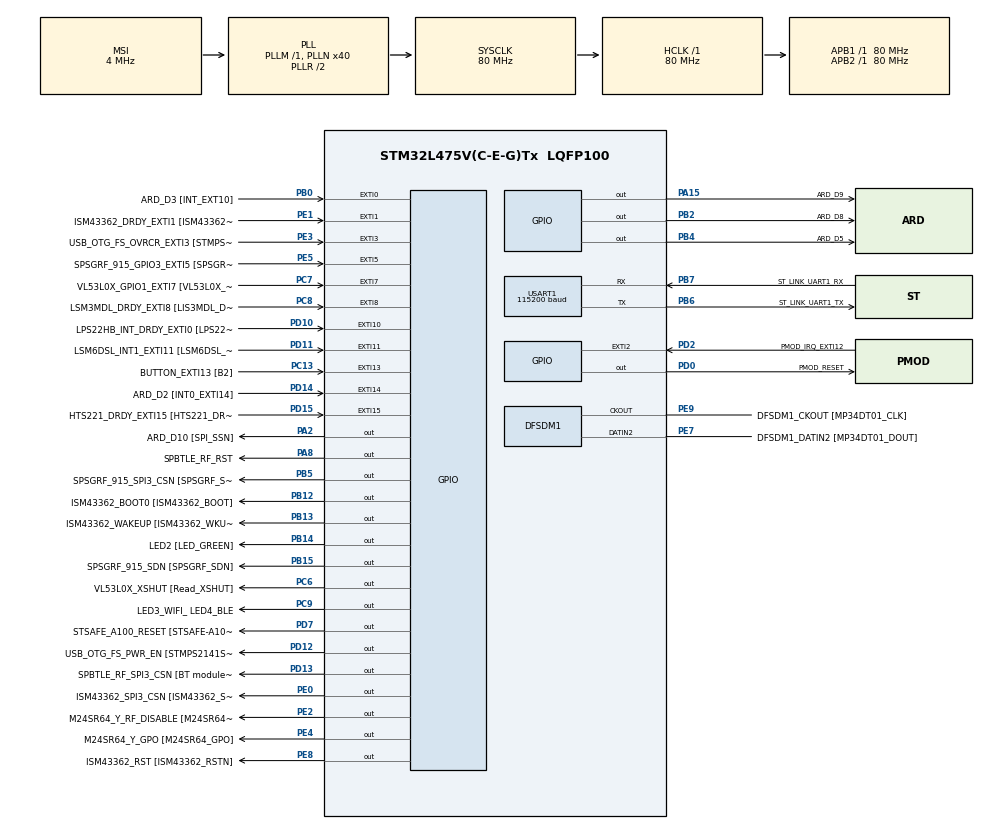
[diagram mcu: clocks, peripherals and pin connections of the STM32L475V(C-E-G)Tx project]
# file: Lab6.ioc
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ADC1.Channel-0\#ChannelRegularConversion=ADC_CHANNEL_TEMPSENSOR
ADC1.ContinuousConvMode=DISABLE
ADC1.DMAContinuousRequests=ENABLE
ADC1.EOCSelection=ADC_EOC_SINGLE_CONV
ADC1.ExternalTrigConv=ADC_EXTERNALTRIG_T1_TRGO
ADC1.ExternalTrigConvEdge=ADC_EXTERNALTRIGCONVEDGE_RISING
ADC1.NbrOfConversionFlag=1
ADC1.OffsetNumber-0\#ChannelRegularConversion=ADC_OFFSET_NONE
ADC1.Rank-0\#ChannelRegularConversion=1
ADC1.SamplingTime-0\#ChannelRegularConversion=ADC_SAMPLETIME_640CYCLES_5
ADC1.master=1
DFSDM1.Divider=40
DFSDM1.DmaMode_reg_FIL0=ENABLE
DFSDM1.FastMode_reg_FIL0=DISABLE
DFSDM1.Filter_injChannel2_FIL0=DFSDM_CHANNEL_2
DFSDM1.Filter_regChannel_FIL0=DFSDM_CHANNEL_2
DFSDM1.Fosr_FIL0=250
DFSDM1.Selection=DFSDM_CHANNEL_OUTPUT_CLOCK_AUDIO
DFSDM1.SincOrder_FIL0=DFSDM_FILTER_SINC3_ORDER
Dma.ADC1.0.Direction=DMA_PERIPH_TO_MEMORY
Dma.ADC1.0.Instance=DMA1_Channel1
Dma.ADC1.0.MemDataAlignment=DMA_MDATAALIGN_HALFWORD
Dma.ADC1.0.MemInc=DMA_MINC_ENABLE
Dma.ADC1.0.Mode=DMA_CIRCULAR
Dma.ADC1.0.PeriphDataAlignment=DMA_PDATAALIGN_HALFWORD
Dma.ADC1.0.PeriphInc=DMA_PINC_DISABLE
Dma.ADC1.0.Priority=DMA_PRIORITY_HIGH
Dma.DFSDM1_FLT0.1.Direction=DMA_PERIPH_TO_MEMORY
Dma.DFSDM1_FLT0.1.Instance=DMA1_Channel4
Dma.DFSDM1_FLT0.1.MemDataAlignment=DMA_MDATAALIGN_WORD
Dma.DFSDM1_FLT0.1.MemInc=DMA_MINC_ENABLE
Dma.DFSDM1_FLT0.1.Mode=DMA_CIRCULAR
Dma.DFSDM1_FLT0.1.PeriphDataAlignment=DMA_PDATAALIGN_WORD
Dma.DFSDM1_FLT0.1.PeriphInc=DMA_PINC_DISABLE
Dma.DFSDM1_FLT0.1.Priority=DMA_PRIORITY_LOW
Dma.Request0=ADC1
Dma.Request1=DFSDM1_FLT0
FREERTOS.BinarySemaphores01=adcSem,Dynamic,NULL
FREERTOS.Tasks01=defaultTask,24,512,StartDefaultTask,Default,NULL,Dynamic,NULL,NULL
Mcu.Family=STM32L4
Mcu.Name=STM32L475V(C-E-G)Tx
Mcu.Package=LQFP100
NVIC.ADC1_2_IRQn=true\:5\:0\:false\:false\:true\:true\:true\:true\:true
NVIC.DFSDM1_FLT0_IRQn=true\:5\:0\:false\:false\:true\:true\:true\:true\:true
NVIC.DMA1_Channel1_IRQn=true\:5\:0\:false\:false\:true\:true\:false\:true\:true
NVIC.DMA1_Channel4_IRQn=true\:5\:0\:false\:false\:true\:true\:false\:true\:true
NVIC.EXTI15_10_IRQn=true\:5\:0\:false\:false\:true\:true\:true\:true\:true
NVIC.EXTI9_5_IRQn=true\:5\:0\:false\:false\:true\:true\:true\:true\:true
NVIC.PriorityGroup=NVIC_PRIORITYGROUP_4
NVIC.TIM6_DAC_IRQn=true\:5\:0\:false\:false\:true\:false\:false\:true\:true
NVIC.TIM7_IRQn=true\:15\:0\:false\:false\:true\:false\:false\:true\:true
NVIC.TimeBase=TIM7_IRQn
NVIC.TimeBaseIP=TIM7
NVIC.USART1_IRQn=true\:5\:0\:false\:false\:true\:true\:true\:true\:true
PA0.GPIO_Label=ARD_D1 [UART4_TX]
PA0.Signal=UART4_TX
PA1.GPIO_Label=ARD_D0 [UART4_RX]
PA1.Signal=UART4_RX
PA10.GPIO_Label=USB_OTG_FS_ID
PA10.Signal=USB_OTG_FS_ID
PA11.GPIO_Label=USB_OTG_FS_DM
PA11.Signal=USB_OTG_FS_DM
PA12.GPIO_Label=USB_OTG_FS_DP
PA12.Signal=USB_OTG_FS_DP
PA13\ (JTMS-SWDIO).GPIO_Label=SYS_JTMS_SWDIO
PA13\ (JTMS-SWDIO).Mode=Serial_Wire
PA13\ (JTMS-SWDIO).Signal=SYS_JTMS-SWDIO
PA14\ (JTCK-SWCLK).GPIO_Label=SYS_JTCK_SWCLK
PA14\ (JTCK-SWCLK).Mode=Serial_Wire
PA14\ (JTCK-SWCLK).Signal=SYS_JTCK-SWCLK
PA15\ (JTDI).GPIO_Label=ARD_D9
PA15\ (JTDI).Signal=GPIO_Output
PA2.GPIO_Label=ARD_D10 [SPI_SSN]
PA2.Signal=GPIO_Output
PA3.GPIO_Label=ARD_D4
PA3.Signal=S_TIM2_CH4
PA4.GPIO_Label=ARD_D7
PA4.Signal=ADCx_IN9
PA5.GPIO_Label=ARD_D13 [SPI1_SCK]
PA5.Signal=SPI1_SCK
PA6.GPIO_Label=ARD_D12 [SPI1_MISO]
PA6.Signal=SPI1_MISO
PA7.GPIO_Label=ARD_D11 [SPI1_MOSI]
PA7.Signal=SPI1_MOSI
PA8.GPIO_Label=SPBTLE_RF_RST
PA8.Signal=GPIO_Output
PA9.GPIO_Label=USB_OTG_FS_VBUS [STMPS2141STR_OUT]
PA9.Signal=USB_OTG_FS_VBUS
PB0.GPIO_Label=ARD_D3 [INT_EXT10]
PB0.Signal=GPXTI0
PB1.GPIO_Label=ARD_D6 [ADC1_IN6]
PB1.Signal=ADCx_IN16
PB10.GPIO_Label=INTERNAL_I2C2_SCL [VL53L0X_SCL]
PB10.Signal=I2C2_SCL
PB11.GPIO_Label=INTERNAL_I2C2_SDA [VL53L0X_SDA]
PB11.Signal=I2C2_SDA
PB12.GPIO_Label=ISM43362_BOOT0 [ISM43362_BOOT]
PB12.Signal=GPIO_Output
PB13.GPIO_Label=ISM43362_WAKEUP [ISM43362_WKUP]
PB13.Signal=GPIO_Output
PB14.GPIO_Label=LED2 [LED_GREEN]
PB14.Signal=GPIO_Output
PB15.GPIO_Label=SPSGRF_915_SDN [SPSGRF_SDN]
PB15.Signal=GPIO_Output
PB2.GPIO_Label=ARD_D8
PB2.Signal=GPIO_Output
PB3\ (JTDO-TRACESWO).GPIO_Label=SYS_JTD0_SWO
PB3\ (JTDO-TRACESWO).Signal=SYS_JTDO-SWO
PB4\ (NJTRST).GPIO_Label=ARD_D5
PB4\ (NJTRST).Signal=GPIO_Output
PB5.GPIO_Label=SPSGRF_915_SPI3_CSN [SPSGRF_SPI_CS]
PB5.PinState=GPIO_PIN_SET
PB5.Signal=GPIO_Output
PB6.GPIO_Label=ST_LINK_UART1_TX
PB6.Mode=Asynchronous
PB6.Signal=USART1_TX
PB7.GPIO_Label=ST_LINK_UART1_RX
PB7.Mode=Asynchronous
PB7.Signal=USART1_RX
PB8.GPIO_Label=ARD_D15 [I2C1_SCL]
PB8.Signal=I2C1_SCL
PB9.GPIO_Label=ARD_D14 [I2C1_SDA]
PB9.Signal=I2C1_SDA
PC0.GPIO_Label=ARD_A5 [ADC]
PC0.Signal=ADCx_IN1
PC1.GPIO_Label=ARD_A4 [ADC]
PC1.Signal=ADCx_IN2
PC10.GPIO_Label=INTERNAL_SPI3_SCK [BT module_SPI_SCLK] [ISM43362_SCK]
PC10.Signal=SPI3_SCK
PC11.GPIO_Label=INTERNAL_SPI3_MISO [BT module_SPI_MISO] [ISM43362_MISO]
PC11.Signal=SPI3_MISO
PC12.GPIO_Label=INTERNAL_SPI3_MOSI [BT module_SPI_MOSI] [ISM43362_MOSI]
PC12.Signal=SPI3_MOSI
PC13.GPIO_Label=BUTTON_EXTI13 [B2]
PC13.GPIO_ModeDefaultEXTI=GPIO_MODE_IT_FALLING
PC13.Signal=GPXTI13
PC14-OSC32_IN\ (PC14).Mode=LSE-External-Oscillator
PC14-OSC32_IN\ (PC14).Signal=RCC_OSC32_IN
PC15-OSC32_OUT\ (PC15).Mode=LSE-External-Oscillator
PC15-OSC32_OUT\ (PC15).Signal=RCC_OSC32_OUT
PC3.GPIO_Label=ARD_A2 [ADC]
PC3.Signal=ADCx_IN4
PC4.GPIO_Label=ARD_A1 [ADC]
PC4.Signal=ADCx_IN13
PC5.GPIO_Label=ARD_A0 [ADC]
PC5.Signal=ADCx_IN14
PC6.GPIO_Label=VL53L0X_XSHUT [Read_XSHUT]
PC6.Signal=GPIO_Output
PC7.GPIO_Label=VL53L0X_GPIO1_EXTI7 [VL53L0X_GPIO1]
PC7.Signal=GPXTI7
PC8.GPIO_Label=LSM3MDL_DRDY_EXTI8 [LIS3MDL_DRDY]
PC8.Signal=GPXTI8
PC9.GPIO_Label=LED3_WIFI_ LED4_BLE
PC9.Signal=GPIO_Output
PD0.GPIO_Label=PMOD_RESET
PD0.Signal=GPIO_Output
PD1.GPIO_Label=PMOD_SPI2_SCK
PD1.Signal=SPI2_SCK
PD10.GPIO_Label=LPS22HB_INT_DRDY_EXTI0 [LPS22HB_INT_DRDY]
PD10.Signal=GPXTI10
PD11.GPIO_Label=LSM6DSL_INT1_EXTI11 [LSM6DSL_INT1]
PD11.Signal=GPXTI11
PD12.GPIO_Label=USB_OTG_FS_PWR_EN [STMPS2141STR_EN]
PD12.Signal=GPIO_Output
PD13.GPIO_Label=SPBTLE_RF_SPI3_CSN [BT module_SPI_CS]
PD13.PinState=GPIO_PIN_SET
PD13.Signal=GPIO_Output
PD14.GPIO_Label=ARD_D2 [INT0_EXTI14]
PD14.Signal=GPXTI14
PD15.GPIO_Label=HTS221_DRDY_EXTI15 [HTS221_DRDY]
PD15.Signal=GPXTI15
PD2.GPIO_Label=PMOD_IRQ_EXTI12
PD2.Signal=GPXTI2
PD3.GPIO_Label=PMOD_UART2_CTS
PD3.Signal=USART2_CTS
PD4.GPIO_Label=PMOD_UART2_RTS
PD4.Signal=USART2_RTS
PD5.GPIO_Label=PMOD_UART2_TX
PD5.Signal=USART2_TX
PD6.GPIO_Label=PMOD_UART2_RX
PD6.Signal=USART2_RX
PD7.GPIO_Label=STSAFE_A100_RESET [STSAFE-A100_RESET]
PD7.Signal=GPIO_Output
PD8.GPIO_Label=INTERNAL_UART3_TX [ISM43362_RX]
PD8.Signal=USART3_TX
PD9.GPIO_Label=INTERNAL_UART3_RX [ISM43362_TX]
PD9.Signal=USART3_RX
PE0.GPIO_Label=ISM43362_SPI3_CSN [ISM43362_SSN]
PE0.PinState=GPIO_PIN_SET
PE0.Signal=GPIO_Output
PE1.GPIO_Label=ISM43362_DRDY_EXTI1 [ISM43362_DATARDY]
PE1.Signal=GPXTI1
PE10.GPIO_Label=QUADSPI_CLK [MX25R6435F_SCLK]
PE10.Signal=QUADSPI_CLK
PE11.GPIO_Label=QUADSPI_NCS [MX25R6435F_SCLK]
PE11.Signal=QUADSPI_NCS
PE12.GPIO_Label=OQUADSPI_BK1_IO0 [MX25R6435F_IO0]
PE12.Signal=QUADSPI_BK1_IO0
PE13.GPIO_Label=QUADSPI_BK1_IO1 [MX25R6435F_IO1]
PE13.Signal=QUADSPI_BK1_IO1
PE14.GPIO_Label=QUAD_SPI_BK1_IO2 [MX25R6435F_IO2]
PE14.Signal=QUADSPI_BK1_IO2
PE15.GPIO_Label=QUAD_SPI_BK1_IO3 [MX25R6435F_IO3]
PE15.Signal=QUADSPI_BK1_IO3
PE2.GPIO_Label=M24SR64_Y_RF_DISABLE [M24SR64_RFDIS]
PE2.Signal=GPIO_Output
PE3.GPIO_Label=USB_OTG_FS_OVRCR_EXTI3 [STMPS2141STR_FAULT]
PE3.Signal=GPXTI3
PE4.GPIO_Label=M24SR64_Y_GPO [M24SR64_GPO]
PE4.Signal=GPIO_Output
PE5.GPIO_Label=SPSGRF_915_GPIO3_EXTI5 [SPSGRF_GPIO_3]
PE5.Signal=GPXTI5
PE7.GPIO_Label=DFSDM1_DATIN2 [MP34DT01_DOUT]
PE7.Signal=S_DATAIN2DFSDM1
PE8.GPIO_Label=ISM43362_RST [ISM43362_RSTN]
PE8.Signal=GPIO_Output
PE9.GPIO_Label=DFSDM1_CKOUT [MP34DT01_CLK]
PE9.Signal=S_CKOUTDFSDM1
PH0-OSC_IN\ (PH0).Mode=HSE-External-Oscillator
PH0-OSC_IN\ (PH0).Signal=RCC_OSC_IN
PH1-OSC_OUT\ (PH1).Mode=HSE-External-Oscillator
PH1-OSC_OUT\ (PH1).Signal=RCC_OSC_OUT
ProjectManager.HeapSize=0x200
ProjectManager.StackSize=0x400
ProjectManager.TargetToolchain=CMake
RCC.ADCFreq_Value=48000000
RCC.AHBFreq_Value=80000000
RCC.APB1Freq_Value=80000000
RCC.APB1TimFreq_Value=80000000
RCC.APB2Freq_Value=80000000
RCC.APB2TimFreq_Value=80000000
RCC.CortexFreq_Value=80000000
RCC.HCLKFreq_Value=80000000
RCC.HSE_VALUE=8000000
RCC.HSI_VALUE=16000000
RCC.MSI_VALUE=4000000
RCC.PLLN=40
RCC.PLLSAI1N=24
RCC.SYSCLKFreq_VALUE=80000000
RCC.SYSCLKSource=RCC_SYSCLKSOURCE_PLLCLK
RCC.USBFreq_Value=48000000
RCC.VCOOutputFreq_Value=160000000
SH.ADCx_IN1.0=ADC1_IN1
SH.ADCx_IN13.0=ADC1_IN13
SH.ADCx_IN14.0=ADC1_IN14
SH.ADCx_IN16.0=ADC1_IN16
SH.ADCx_IN2.0=ADC1_IN2
SH.ADCx_IN4.0=ADC1_IN4
SH.ADCx_IN9.0=ADC1_IN9
SH.S_CKOUTDFSDM1.0=DFSDM1_CKOUT,PDM_SPI_input_from_ch2_and_internal_clock
SH.S_DATAIN2DFSDM1.0=DFSDM1_DATIN2,PDM_SPI_input_from_ch2_and_internal_clock
SH.S_TIM2_CH4.0=TIM2_CH4
TIM1.AutoReloadPreload=TIM_AUTORELOAD_PRELOAD_ENABLE
TIM1.Period=10000-1
TIM1.Prescaler=80-1
TIM1.TIM_MasterOutputTrigger=TIM_TRGO_UPDATE
TIM2.Period=1000000-1
TIM2.Prescaler=80-1
TIM2.TIM_MasterOutputTrigger=TIM_TRGO_UPDATE
USART1.BaudRate=115200
USART1.VirtualMode-Asynchronous=VM_ASYNC
VP_ADC1_TempSens_Input.Mode=IN-TempSens
VP_FREERTOS_VS_CMSIS_V2.Mode=CMSIS_V2
VP_SYS_VS_tim7.Mode=TIM7
VP_TIM1_VS_ClockSourceINT.Mode=Internal
VP_TIM2_VS_ClockSourceINT.Mode=Internal
VP_TIM6_VS_ClockSourceINT.Mode=Enable_Timer
board=B-L475E-IOT01A1

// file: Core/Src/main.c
/* USER CODE BEGIN Header */
/**
  ******************************************************************************
  * @file           : main.c
  * @brief          : Main program body
  ******************************************************************************
  * @attention
  *
  * Copyright (c) 2026 STMicroelectronics.
  * All rights reserved.
  *
  * This software is licensed under terms that can be found in the LICENSE file
  * in the root directory of this software component.
  * If no LICENSE file comes with this software, it is provided AS-IS.
  *
  ******************************************************************************
  */
/* USER CODE END Header */
#include "main.h"
#include "cmsis_os.h"

/* USER CODE BEGIN Includes */
#include <stdio.h>
/* USER CODE END Includes */

ADC_HandleTypeDef hadc1;
DMA_HandleTypeDef hdma_adc1;

DFSDM_Filter_HandleTypeDef hdfsdm1_filter0;
DFSDM_Channel_HandleTypeDef hdfsdm1_channel2;
DMA_HandleTypeDef hdma_dfsdm1_flt0;

TIM_HandleTypeDef htim1;
TIM_HandleTypeDef htim2;
TIM_HandleTypeDef htim6;

UART_HandleTypeDef huart1;

/* Definitions for defaultTask */
osThreadId_t defaultTaskHandle;
const osThreadAttr_t defaultTask_attributes = {
  .name = "defaultTask",
  .stack_size = 512 * 4,
  .priority = (osPriority_t) osPriorityNormal,
};
/* Definitions for adcSem */
osSemaphoreId_t adcSemHandle;
const osSemaphoreAttr_t adcSem_attributes = {
  .name = "adcSem"
};
/* USER CODE BEGIN PV */
#define AUDIO_REC 1024
int32_t RecBuf[AUDIO_REC];
int32_t PlayBuf[AUDIO_REC];

volatile uint8_t DmaRecHalBuffCplt=0;
volatile uint8_t DmaRecBuffCplt=0;

/* Phase C1b: ADC1 + DMA1_Ch1 as a known-good peripheral-triggered DMA reference */
volatile uint16_t adcBuf[8];
volatile uint32_t adcCpltCnt=0;

/* Phase B1: software-triggered memory-to-memory DMA test buffers (SRAM1) */
uint32_t m2mSrc[8];
uint32_t m2mDst[8];
int __io_putchar(int ch) {
  HAL_UART_Transmit(&huart1, (uint8_t *)&ch, 1, HAL_MAX_DELAY);
  return ch;
}

/* USER CODE END PV */

void SystemClock_Config(void);
void PeriphCommonClock_Config(void);
static void MX_GPIO_Init(void);
static void MX_DMA_Init(void);
static void MX_ADC1_Init(void);
static void MX_TIM1_Init(void);
static void MX_TIM2_Init(void);
static void MX_USART1_UART_Init(void);
static void MX_TIM6_Init(void);
static void MX_DFSDM1_Init(void);
void StartDefaultTask(void *argument);

/* USER CODE BEGIN 0 */
/* Phase C1 diagnostics: dump DFSDM + DMA1_Channel4 state to see whether the DMA
 * is actually moving data. On STM32L475 (RM0351 Rev 9, Table 44) the correct
 * value is C4S = 0 (== DFSDM1_FLT0); a stuck CNDTR with ROVRF=1 means the filter
 * produces samples but the DMA never reads FLTRDATAR. */
static void dump_dfsdm_dma_state(const char *tag)
{
  uint32_t cselr = DMA1_CSELR->CSELR;
  uint32_t c4s   = (cselr >> 12) & 0xFU;            /* DMA1 Channel4 request selection */
  uint32_t ccr   = hdma_dfsdm1_flt0.Instance->CCR;
  uint32_t cndtr = hdma_dfsdm1_flt0.Instance->CNDTR;
  uint32_t cr1   = hdfsdm1_filter0.Instance->FLTCR1;
  uint32_t isr   = hdfsdm1_filter0.Instance->FLTISR;

  printf("[diag:%s]\r\n", tag);
  printf("  DMA  CSELR=%08lX C4S=%lu (expect 0 = DFSDM1_FLT0)\r\n",
         (unsigned long)cselr, (unsigned long)c4s);
  printf("  DMA  CCR=%08lX EN=%lu HTIE=%lu TCIE=%lu CIRC=%lu  CNDTR=%lu\r\n",
         (unsigned long)ccr,
         (unsigned long)((ccr & DMA_CCR_EN)   != 0U),
         (unsigned long)((ccr & DMA_CCR_HTIE) != 0U),
         (unsigned long)((ccr & DMA_CCR_TCIE) != 0U),
         (unsigned long)((ccr & DMA_CCR_CIRC) != 0U),
         (unsigned long)cndtr);
  printf("  FLT0 CR1=%08lX RDMAEN=%lu  ISR=%08lX REOCF=%lu ROVRF=%lu\r\n",
         (unsigned long)cr1,
         (unsigned long)((cr1 & DFSDM_FLTCR1_RDMAEN) != 0U),
         (unsigned long)isr,
         (unsigned long)((isr & DFSDM_FLTISR_REOCF) != 0U),
         (unsigned long)((isr & DFSDM_FLTISR_ROVRF) != 0U));
  printf("  ADC  CNDTR=%lu (DMA1_Ch1 ref) cplt=%lu\r\n",
         (unsigned long)hdma_adc1.Instance->CNDTR, (unsigned long)adcCpltCnt);
  printf("  SYS  DMA1_ISR=%08lX  ADC_ISR=%08lX EOC=%lu OVR=%lu\r\n",
         (unsigned long)DMA1->ISR,
         (unsigned long)hadc1.Instance->ISR,
         (unsigned long)((hadc1.Instance->ISR & ADC_ISR_EOC) != 0U),
         (unsigned long)((hadc1.Instance->ISR & ADC_ISR_OVR) != 0U));
  printf("  ERR  dfsdmDMA_ErrorCode=0x%lX  adcDMA_ErrorCode=0x%lX  dfsdmFilterErr=0x%lX adcErr=0x%lX\r\n",
         (unsigned long)hdma_dfsdm1_flt0.ErrorCode, (unsigned long)hdma_adc1.ErrorCode,
         (unsigned long)hdfsdm1_filter0.ErrorCode,  (unsigned long)hadc1.ErrorCode);
}

/* Phase B1: software-triggered memory-to-memory DMA on DMA1 (unused Channel3).
 * MEM2MEM needs NO peripheral request and NO CSELR mux — it tests whether DMA1
 * can move data to/from SRAM at all. If poll times out / err=TE(0x1) and CNDTR
 * stays 8, DMA1 cannot reach the buffer's memory (confirms the access theory).
 * If it completes and dst==src, memory is fine and the fault is request routing. */
static void test_dma1_m2m(void)
{
  static DMA_HandleTypeDef hdma_test;
  HAL_StatusTypeDef st_init, st_start, st_poll;

  for (uint32_t i = 0; i < 8U; i++) { m2mSrc[i] = 0xA5A50000U + i; m2mDst[i] = 0U; }

  hdma_test.Instance                 = DMA1_Channel3;          /* unused channel */
  hdma_test.Init.Request             = DMA_REQUEST_0;          /* ignored in MEM2MEM */
  hdma_test.Init.Direction           = DMA_MEMORY_TO_MEMORY;
  hdma_test.Init.PeriphInc           = DMA_PINC_ENABLE;
  hdma_test.Init.MemInc              = DMA_MINC_ENABLE;
  hdma_test.Init.PeriphDataAlignment = DMA_PDATAALIGN_WORD;
  hdma_test.Init.MemDataAlignment    = DMA_MDATAALIGN_WORD;
  hdma_test.Init.Mode                = DMA_NORMAL;
  hdma_test.Init.Priority            = DMA_PRIORITY_LOW;
  st_init  = HAL_DMA_Init(&hdma_test);
  /* MEM2MEM: src goes to CPAR, dst to CMAR; DMA copies src -> dst immediately */
  st_start = HAL_DMA_Start(&hdma_test, (uint32_t)m2mSrc, (uint32_t)m2mDst, 8);
  st_poll  = HAL_DMA_PollForTransfer(&hdma_test, HAL_DMA_FULL_TRANSFER, 100);

  printf("[diag:m2m] init=%d start=%d poll=%d err=0x%lX CNDTR=%lu  dst[0]=%08lX dst[7]=%08lX (src[0]=%08lX)\r\n",
         (int)st_init, (int)st_start, (int)st_poll, (unsigned long)hdma_test.ErrorCode,
         (unsigned long)hdma_test.Instance->CNDTR,
         (unsigned long)m2mDst[0], (unsigned long)m2mDst[7], (unsigned long)m2mSrc[0]);

  HAL_DMA_DeInit(&hdma_test);
}
/* USER CODE END 0 */

int main(void)
{

  /* MCU Configuration--------------------------------------------------------*/

  /* Reset of all peripherals, Initializes the Flash interface and the Systick. */
  HAL_Init();

  /* Configure the system clock */
  SystemClock_Config();

  /* Configure the peripherals common clocks */
  PeriphCommonClock_Config();

  /* Initialize all configured peripherals */
  MX_GPIO_Init();
  MX_DMA_Init();
  MX_ADC1_Init();
  MX_TIM1_Init();
  MX_TIM2_Init();
  MX_USART1_UART_Init();
  MX_TIM6_Init();
  MX_DFSDM1_Init();
  /* USER CODE BEGIN 2 */
  /* Phase B1: does DMA1 move SRAM->SRAM at all? (no peripheral request) */
  test_dma1_m2m();

  /* Phase C1b: start the ADC reference DMA (peripheral-triggered, DMA1_Ch1) */
  HAL_TIM_Base_Start(&htim1);
  HAL_ADC_Start_DMA(&hadc1, (uint32_t *)adcBuf, 8);

  dump_dfsdm_dma_state("before-start");
  HAL_DFSDM_FilterRegularStart_DMA(&hdfsdm1_filter0, RecBuf, AUDIO_REC);
  dump_dfsdm_dma_state("after-start");
  HAL_Delay(300);
  dump_dfsdm_dma_state("after-300ms");   /* CNDTR should have moved if DMA is alive */
  /* USER CODE END 2 */

  /* Init scheduler */
  osKernelInitialize();

  /* Create the semaphores(s) */
  /* creation of adcSem */
  adcSemHandle = osSemaphoreNew(1, 0, &adcSem_attributes);

  /* Create the thread(s) */
  /* creation of defaultTask */
  defaultTaskHandle = osThreadNew(StartDefaultTask, NULL, &defaultTask_attributes);

  /* Start scheduler */
  osKernelStart();

  /* We should never get here as control is now taken by the scheduler */

  /* Infinite loop */
  while (1)
  {

  }
}

void SystemClock_Config(void)
{
  RCC_OscInitTypeDef RCC_OscInitStruct = {0};
  RCC_ClkInitTypeDef RCC_ClkInitStruct = {0};

  /** Configure the main internal regulator output voltage
  */
  if (HAL_PWREx_ControlVoltageScaling(PWR_REGULATOR_VOLTAGE_SCALE1) != HAL_OK)
  {
    Error_Handler();
  }

  /** Configure LSE Drive Capability
  */
  HAL_PWR_EnableBkUpAccess();
  __HAL_RCC_LSEDRIVE_CONFIG(RCC_LSEDRIVE_LOW);

  /** Initializes the RCC Oscillators according to the specified parameters
  * in the RCC_OscInitTypeDef structure.
  */
  RCC_OscInitStruct.OscillatorType = RCC_OSCILLATORTYPE_LSE|RCC_OSCILLATORTYPE_MSI;
  RCC_OscInitStruct.LSEState = RCC_LSE_ON;
  RCC_OscInitStruct.MSIState = RCC_MSI_ON;
  RCC_OscInitStruct.MSICalibrationValue = 0;
  RCC_OscInitStruct.MSIClockRange = RCC_MSIRANGE_6;
  RCC_OscInitStruct.PLL.PLLState = RCC_PLL_ON;
  RCC_OscInitStruct.PLL.PLLSource = RCC_PLLSOURCE_MSI;
  RCC_OscInitStruct.PLL.PLLM = 1;
  RCC_OscInitStruct.PLL.PLLN = 40;
  RCC_OscInitStruct.PLL.PLLP = RCC_PLLP_DIV7;
  RCC_OscInitStruct.PLL.PLLQ = RCC_PLLQ_DIV2;
  RCC_OscInitStruct.PLL.PLLR = RCC_PLLR_DIV2;
  if (HAL_RCC_OscConfig(&RCC_OscInitStruct) != HAL_OK)
  {
    Error_Handler();
  }

  /** Initializes the CPU, AHB and APB buses clocks
  */
  RCC_ClkInitStruct.ClockType = RCC_CLOCKTYPE_HCLK|RCC_CLOCKTYPE_SYSCLK
                              |RCC_CLOCKTYPE_PCLK1|RCC_CLOCKTYPE_PCLK2;
  RCC_ClkInitStruct.SYSCLKSource = RCC_SYSCLKSOURCE_PLLCLK;
  RCC_ClkInitStruct.AHBCLKDivider = RCC_SYSCLK_DIV1;
  RCC_ClkInitStruct.APB1CLKDivider = RCC_HCLK_DIV1;
  RCC_ClkInitStruct.APB2CLKDivider = RCC_HCLK_DIV1;

  if (HAL_RCC_ClockConfig(&RCC_ClkInitStruct, FLASH_LATENCY_4) != HAL_OK)
  {
    Error_Handler();
  }

  /** Enable MSI Auto calibration
  */
  HAL_RCCEx_EnableMSIPLLMode();
}

void PeriphCommonClock_Config(void)
{
  RCC_PeriphCLKInitTypeDef PeriphClkInit = {0};

  /** Initializes the peripherals clock
  */
  PeriphClkInit.PeriphClockSelection = RCC_PERIPHCLK_SAI1|RCC_PERIPHCLK_ADC;
  PeriphClkInit.Sai1ClockSelection = RCC_SAI1CLKSOURCE_PLLSAI1;
  PeriphClkInit.AdcClockSelection = RCC_ADCCLKSOURCE_PLLSAI1;
  PeriphClkInit.PLLSAI1.PLLSAI1Source = RCC_PLLSOURCE_MSI;
  PeriphClkInit.PLLSAI1.PLLSAI1M = 1;
  PeriphClkInit.PLLSAI1.PLLSAI1N = 24;
  PeriphClkInit.PLLSAI1.PLLSAI1P = RCC_PLLP_DIV7;
  PeriphClkInit.PLLSAI1.PLLSAI1Q = RCC_PLLQ_DIV2;
  PeriphClkInit.PLLSAI1.PLLSAI1R = RCC_PLLR_DIV2;
  PeriphClkInit.PLLSAI1.PLLSAI1ClockOut = RCC_PLLSAI1_SAI1CLK|RCC_PLLSAI1_ADC1CLK;
  if (HAL_RCCEx_PeriphCLKConfig(&PeriphClkInit) != HAL_OK)
  {
    Error_Handler();
  }
}

static void MX_ADC1_Init(void)
{

  ADC_MultiModeTypeDef multimode = {0};
  ADC_ChannelConfTypeDef sConfig = {0};

  /** Common config
  */
  hadc1.Instance = ADC1;
  hadc1.Init.ClockPrescaler = ADC_CLOCK_ASYNC_DIV1;
  hadc1.Init.Resolution = ADC_RESOLUTION_12B;
  hadc1.Init.DataAlign = ADC_DATAALIGN_RIGHT;
  hadc1.Init.ScanConvMode = ADC_SCAN_DISABLE;
  hadc1.Init.EOCSelection = ADC_EOC_SINGLE_CONV;
  hadc1.Init.LowPowerAutoWait = DISABLE;
  hadc1.Init.ContinuousConvMode = DISABLE;
  hadc1.Init.NbrOfConversion = 1;
  hadc1.Init.DiscontinuousConvMode = DISABLE;
  hadc1.Init.ExternalTrigConv = ADC_EXTERNALTRIG_T1_TRGO;
  hadc1.Init.ExternalTrigConvEdge = ADC_EXTERNALTRIGCONVEDGE_RISING;
  hadc1.Init.DMAContinuousRequests = ENABLE;
  hadc1.Init.Overrun = ADC_OVR_DATA_PRESERVED;
  hadc1.Init.OversamplingMode = DISABLE;
  if (HAL_ADC_Init(&hadc1) != HAL_OK)
  {
    Error_Handler();
  }

  /** Configure the ADC multi-mode
  */
  multimode.Mode = ADC_MODE_INDEPENDENT;
  if (HAL_ADCEx_MultiModeConfigChannel(&hadc1, &multimode) != HAL_OK)
  {
    Error_Handler();
  }

  /** Configure Regular Channel
  */
  sConfig.Channel = ADC_CHANNEL_TEMPSENSOR;
  sConfig.Rank = ADC_REGULAR_RANK_1;
  sConfig.SamplingTime = ADC_SAMPLETIME_640CYCLES_5;
  sConfig.SingleDiff = ADC_SINGLE_ENDED;
  sConfig.OffsetNumber = ADC_OFFSET_NONE;
  sConfig.Offset = 0;
  if (HAL_ADC_ConfigChannel(&hadc1, &sConfig) != HAL_OK)
  {
    Error_Handler();
  }

}

static void MX_DFSDM1_Init(void)
{

  hdfsdm1_filter0.Instance = DFSDM1_Filter0;
  hdfsdm1_filter0.Init.RegularParam.Trigger = DFSDM_FILTER_SW_TRIGGER;
  hdfsdm1_filter0.Init.RegularParam.FastMode = DISABLE;
  hdfsdm1_filter0.Init.RegularParam.DmaMode = ENABLE;
  hdfsdm1_filter0.Init.InjectedParam.Trigger = DFSDM_FILTER_SW_TRIGGER;
  hdfsdm1_filter0.Init.InjectedParam.ScanMode = DISABLE;
  hdfsdm1_filter0.Init.InjectedParam.DmaMode = DISABLE;
  hdfsdm1_filter0.Init.InjectedParam.ExtTrigger = DFSDM_FILTER_EXT_TRIG_TIM1_TRGO;
  hdfsdm1_filter0.Init.InjectedParam.ExtTriggerEdge = DFSDM_FILTER_EXT_TRIG_RISING_EDGE;
  hdfsdm1_filter0.Init.FilterParam.SincOrder = DFSDM_FILTER_SINC3_ORDER;
  hdfsdm1_filter0.Init.FilterParam.Oversampling = 250;
  hdfsdm1_filter0.Init.FilterParam.IntOversampling = 1;
  if (HAL_DFSDM_FilterInit(&hdfsdm1_filter0) != HAL_OK)
  {
    Error_Handler();
  }
  hdfsdm1_channel2.Instance = DFSDM1_Channel2;
  hdfsdm1_channel2.Init.OutputClock.Activation = ENABLE;
  hdfsdm1_channel2.Init.OutputClock.Selection = DFSDM_CHANNEL_OUTPUT_CLOCK_AUDIO;
  hdfsdm1_channel2.Init.OutputClock.Divider = 40;
  hdfsdm1_channel2.Init.Input.Multiplexer = DFSDM_CHANNEL_EXTERNAL_INPUTS;
  hdfsdm1_channel2.Init.Input.DataPacking = DFSDM_CHANNEL_STANDARD_MODE;
  hdfsdm1_channel2.Init.Input.Pins = DFSDM_CHANNEL_SAME_CHANNEL_PINS;
  hdfsdm1_channel2.Init.SerialInterface.Type = DFSDM_CHANNEL_SPI_RISING;
  hdfsdm1_channel2.Init.SerialInterface.SpiClock = DFSDM_CHANNEL_SPI_CLOCK_INTERNAL;
  hdfsdm1_channel2.Init.Awd.FilterOrder = DFSDM_CHANNEL_FASTSINC_ORDER;
  hdfsdm1_channel2.Init.Awd.Oversampling = 1;
  hdfsdm1_channel2.Init.Offset = 0;
  hdfsdm1_channel2.Init.RightBitShift = 0x00;
  if (HAL_DFSDM_ChannelInit(&hdfsdm1_channel2) != HAL_OK)
  {
    Error_Handler();
  }
  if (HAL_DFSDM_FilterConfigRegChannel(&hdfsdm1_filter0, DFSDM_CHANNEL_2, DFSDM_CONTINUOUS_CONV_ON) != HAL_OK)
  {
    Error_Handler();
  }
  if (HAL_DFSDM_FilterConfigInjChannel(&hdfsdm1_filter0, DFSDM_CHANNEL_2) != HAL_OK)
  {
    Error_Handler();
  }

}

static void MX_TIM1_Init(void)
{

  TIM_ClockConfigTypeDef sClockSourceConfig = {0};
  TIM_MasterConfigTypeDef sMasterConfig = {0};

  htim1.Instance = TIM1;
  htim1.Init.Prescaler = 80-1;
  htim1.Init.CounterMode = TIM_COUNTERMODE_UP;
  htim1.Init.Period = 10000-1;
  htim1.Init.ClockDivision = TIM_CLOCKDIVISION_DIV1;
  htim1.Init.RepetitionCounter = 0;
  htim1.Init.AutoReloadPreload = TIM_AUTORELOAD_PRELOAD_ENABLE;
  if (HAL_TIM_Base_Init(&htim1) != HAL_OK)
  {
    Error_Handler();
  }
  sClockSourceConfig.ClockSource = TIM_CLOCKSOURCE_INTERNAL;
  if (HAL_TIM_ConfigClockSource(&htim1, &sClockSourceConfig) != HAL_OK)
  {
    Error_Handler();
  }
  sMasterConfig.MasterOutputTrigger = TIM_TRGO_UPDATE;
  sMasterConfig.MasterOutputTrigger2 = TIM_TRGO2_RESET;
  sMasterConfig.MasterSlaveMode = TIM_MASTERSLAVEMODE_DISABLE;
  if (HAL_TIMEx_MasterConfigSynchronization(&htim1, &sMasterConfig) != HAL_OK)
  {
    Error_Handler();
  }

}

static void MX_TIM2_Init(void)
{

  TIM_ClockConfigTypeDef sClockSourceConfig = {0};
  TIM_MasterConfigTypeDef sMasterConfig = {0};

  htim2.Instance = TIM2;
  htim2.Init.Prescaler = 80-1;
  htim2.Init.CounterMode = TIM_COUNTERMODE_UP;
  htim2.Init.Period = 1000000-1;
  htim2.Init.ClockDivision = TIM_CLOCKDIVISION_DIV1;
  htim2.Init.AutoReloadPreload = TIM_AUTORELOAD_PRELOAD_DISABLE;
  if (HAL_TIM_Base_Init(&htim2) != HAL_OK)
  {
    Error_Handler();
  }
  sClockSourceConfig.ClockSource = TIM_CLOCKSOURCE_INTERNAL;
  if (HAL_TIM_ConfigClockSource(&htim2, &sClockSourceConfig) != HAL_OK)
  {
    Error_Handler();
  }
  sMasterConfig.MasterOutputTrigger = TIM_TRGO_UPDATE;
  sMasterConfig.MasterSlaveMode = TIM_MASTERSLAVEMODE_DISABLE;
  if (HAL_TIMEx_MasterConfigSynchronization(&htim2, &sMasterConfig) != HAL_OK)
  {
    Error_Handler();
  }

}

static void MX_TIM6_Init(void)
{

  TIM_MasterConfigTypeDef sMasterConfig = {0};

  htim6.Instance = TIM6;
  htim6.Init.Prescaler = 0;
  htim6.Init.CounterMode = TIM_COUNTERMODE_UP;
  htim6.Init.Period = 65535;
  htim6.Init.AutoReloadPreload = TIM_AUTORELOAD_PRELOAD_DISABLE;
  if (HAL_TIM_Base_Init(&htim6) != HAL_OK)
  {
    Error_Handler();
  }
  sMasterConfig.MasterOutputTrigger = TIM_TRGO_RESET;
  sMasterConfig.MasterSlaveMode = TIM_MASTERSLAVEMODE_DISABLE;
  if (HAL_TIMEx_MasterConfigSynchronization(&htim6, &sMasterConfig) != HAL_OK)
  {
    Error_Handler();
  }

}

static void MX_USART1_UART_Init(void)
{

  huart1.Instance = USART1;
  huart1.Init.BaudRate = 115200;
  huart1.Init.WordLength = UART_WORDLENGTH_8B;
  huart1.Init.StopBits = UART_STOPBITS_1;
  huart1.Init.Parity = UART_PARITY_NONE;
  huart1.Init.Mode = UART_MODE_TX_RX;
  huart1.Init.HwFlowCtl = UART_HWCONTROL_NONE;
  huart1.Init.OverSampling = UART_OVERSAMPLING_16;
  huart1.Init.OneBitSampling = UART_ONE_BIT_SAMPLE_DISABLE;
  huart1.AdvancedInit.AdvFeatureInit = UART_ADVFEATURE_NO_INIT;
  if (HAL_UART_Init(&huart1) != HAL_OK)
  {
    Error_Handler();
  }

}

static void MX_DMA_Init(void)
{

  /* DMA controller clock enable */
  __HAL_RCC_DMA1_CLK_ENABLE();

  /* DMA interrupt init */
  /* DMA1_Channel1_IRQn interrupt configuration */
  HAL_NVIC_SetPriority(DMA1_Channel1_IRQn, 5, 0);
  HAL_NVIC_EnableIRQ(DMA1_Channel1_IRQn);
  /* DMA1_Channel4_IRQn interrupt configuration */
  HAL_NVIC_SetPriority(DMA1_Channel4_IRQn, 5, 0);
  HAL_NVIC_EnableIRQ(DMA1_Channel4_IRQn);

}

static void MX_GPIO_Init(void)
{
  GPIO_InitTypeDef GPIO_InitStruct = {0};

  /* GPIO Ports Clock Enable */
  __HAL_RCC_GPIOE_CLK_ENABLE();
  __HAL_RCC_GPIOC_CLK_ENABLE();
  __HAL_RCC_GPIOH_CLK_ENABLE();
  __HAL_RCC_GPIOA_CLK_ENABLE();
  __HAL_RCC_GPIOB_CLK_ENABLE();
  __HAL_RCC_GPIOD_CLK_ENABLE();

  /*Configure GPIO pin Output Level */
  HAL_GPIO_WritePin(GPIOE, M24SR64_Y_RF_DISABLE_Pin|M24SR64_Y_GPO_Pin|ISM43362_RST_Pin, GPIO_PIN_RESET);

  /*Configure GPIO pin Output Level */
  HAL_GPIO_WritePin(GPIOA, ARD_D10_Pin|SPBTLE_RF_RST_Pin|ARD_D9_Pin, GPIO_PIN_RESET);

  /*Configure GPIO pin Output Level */
  HAL_GPIO_WritePin(GPIOB, ARD_D8_Pin|ISM43362_BOOT0_Pin|ISM43362_WAKEUP_Pin|LED2_Pin
                          |SPSGRF_915_SDN_Pin|ARD_D5_Pin, GPIO_PIN_RESET);

  /*Configure GPIO pin Output Level */
  HAL_GPIO_WritePin(GPIOD, USB_OTG_FS_PWR_EN_Pin|PMOD_RESET_Pin|STSAFE_A100_RESET_Pin, GPIO_PIN_RESET);

  /*Configure GPIO pin Output Level */
  HAL_GPIO_WritePin(SPBTLE_RF_SPI3_CSN_GPIO_Port, SPBTLE_RF_SPI3_CSN_Pin, GPIO_PIN_SET);

  /*Configure GPIO pin Output Level */
  HAL_GPIO_WritePin(GPIOC, VL53L0X_XSHUT_Pin|LED3_WIFI__LED4_BLE_Pin, GPIO_PIN_RESET);

  /*Configure GPIO pin Output Level */
  HAL_GPIO_WritePin(SPSGRF_915_SPI3_CSN_GPIO_Port, SPSGRF_915_SPI3_CSN_Pin, GPIO_PIN_SET);

  /*Configure GPIO pin Output Level */
  HAL_GPIO_WritePin(ISM43362_SPI3_CSN_GPIO_Port, ISM43362_SPI3_CSN_Pin, GPIO_PIN_SET);

  /*Configure GPIO pins : M24SR64_Y_RF_DISABLE_Pin M24SR64_Y_GPO_Pin ISM43362_RST_Pin ISM43362_SPI3_CSN_Pin */
  GPIO_InitStruct.Pin = M24SR64_Y_RF_DISABLE_Pin|M24SR64_Y_GPO_Pin|ISM43362_RST_Pin|ISM43362_SPI3_CSN_Pin;
  GPIO_InitStruct.Mode = GPIO_MODE_OUTPUT_PP;
  GPIO_InitStruct.Pull = GPIO_NOPULL;
  GPIO_InitStruct.Speed = GPIO_SPEED_FREQ_LOW;
  HAL_GPIO_Init(GPIOE, &GPIO_InitStruct);

  /*Configure GPIO pins : USB_OTG_FS_OVRCR_EXTI3_Pin SPSGRF_915_GPIO3_EXTI5_Pin ISM43362_DRDY_EXTI1_Pin */
  GPIO_InitStruct.Pin = USB_OTG_FS_OVRCR_EXTI3_Pin|SPSGRF_915_GPIO3_EXTI5_Pin|ISM43362_DRDY_EXTI1_Pin;
  GPIO_InitStruct.Mode = GPIO_MODE_IT_RISING;
  GPIO_InitStruct.Pull = GPIO_NOPULL;
  HAL_GPIO_Init(GPIOE, &GPIO_InitStruct);

  /*Configure GPIO pin : BUTTON_EXTI13_Pin */
  GPIO_InitStruct.Pin = BUTTON_EXTI13_Pin;
  GPIO_InitStruct.Mode = GPIO_MODE_IT_FALLING;
  GPIO_InitStruct.Pull = GPIO_NOPULL;
  HAL_GPIO_Init(BUTTON_EXTI13_GPIO_Port, &GPIO_InitStruct);

  /*Configure GPIO pins : ARD_D1_Pin ARD_D0_Pin */
  GPIO_InitStruct.Pin = ARD_D1_Pin|ARD_D0_Pin;
  GPIO_InitStruct.Mode = GPIO_MODE_AF_PP;
  GPIO_InitStruct.Pull = GPIO_NOPULL;
  GPIO_InitStruct.Speed = GPIO_SPEED_FREQ_VERY_HIGH;
  GPIO_InitStruct.Alternate = GPIO_AF8_UART4;
  HAL_GPIO_Init(GPIOA, &GPIO_InitStruct);

  /*Configure GPIO pins : ARD_D10_Pin SPBTLE_RF_RST_Pin ARD_D9_Pin */
  GPIO_InitStruct.Pin = ARD_D10_Pin|SPBTLE_RF_RST_Pin|ARD_D9_Pin;
  GPIO_InitStruct.Mode = GPIO_MODE_OUTPUT_PP;
  GPIO_InitStruct.Pull = GPIO_NOPULL;
  GPIO_InitStruct.Speed = GPIO_SPEED_FREQ_LOW;
  HAL_GPIO_Init(GPIOA, &GPIO_InitStruct);

  /*Configure GPIO pins : ARD_D13_Pin ARD_D12_Pin ARD_D11_Pin */
  GPIO_InitStruct.Pin = ARD_D13_Pin|ARD_D12_Pin|ARD_D11_Pin;
  GPIO_InitStruct.Mode = GPIO_MODE_AF_PP;
  GPIO_InitStruct.Pull = GPIO_NOPULL;
  GPIO_InitStruct.Speed = GPIO_SPEED_FREQ_VERY_HIGH;
  GPIO_InitStruct.Alternate = GPIO_AF5_SPI1;
  HAL_GPIO_Init(GPIOA, &GPIO_InitStruct);

  /*Configure GPIO pin : ARD_D3_Pin */
  GPIO_InitStruct.Pin = ARD_D3_Pin;
  GPIO_InitStruct.Mode = GPIO_MODE_IT_RISING;
  GPIO_InitStruct.Pull = GPIO_NOPULL;
  HAL_GPIO_Init(ARD_D3_GPIO_Port, &GPIO_InitStruct);

  /*Configure GPIO pins : ARD_D8_Pin ISM43362_BOOT0_Pin ISM43362_WAKEUP_Pin LED2_Pin
                           SPSGRF_915_SDN_Pin ARD_D5_Pin SPSGRF_915_SPI3_CSN_Pin */
  GPIO_InitStruct.Pin = ARD_D8_Pin|ISM43362_BOOT0_Pin|ISM43362_WAKEUP_Pin|LED2_Pin
                          |SPSGRF_915_SDN_Pin|ARD_D5_Pin|SPSGRF_915_SPI3_CSN_Pin;
  GPIO_InitStruct.Mode = GPIO_MODE_OUTPUT_PP;
  GPIO_InitStruct.Pull = GPIO_NOPULL;
  GPIO_InitStruct.Speed = GPIO_SPEED_FREQ_LOW;
  HAL_GPIO_Init(GPIOB, &GPIO_InitStruct);

  /*Configure GPIO pins : QUADSPI_CLK_Pin QUADSPI_NCS_Pin OQUADSPI_BK1_IO0_Pin QUADSPI_BK1_IO1_Pin
                           QUAD_SPI_BK1_IO2_Pin QUAD_SPI_BK1_IO3_Pin */
  GPIO_InitStruct.Pin = QUADSPI_CLK_Pin|QUADSPI_NCS_Pin|OQUADSPI_BK1_IO0_Pin|QUADSPI_BK1_IO1_Pin
                          |QUAD_SPI_BK1_IO2_Pin|QUAD_SPI_BK1_IO3_Pin;
  GPIO_InitStruct.Mode = GPIO_MODE_AF_PP;
  GPIO_InitStruct.Pull = GPIO_NOPULL;
  GPIO_InitStruct.Speed = GPIO_SPEED_FREQ_VERY_HIGH;
  GPIO_InitStruct.Alternate = GPIO_AF10_QUADSPI;
  HAL_GPIO_Init(GPIOE, &GPIO_InitStruct);

  /*Configure GPIO pins : INTERNAL_I2C2_SCL_Pin INTERNAL_I2C2_SDA_Pin */
  GPIO_InitStruct.Pin = INTERNAL_I2C2_SCL_Pin|INTERNAL_I2C2_SDA_Pin;
  GPIO_InitStruct.Mode = GPIO_MODE_AF_OD;
  GPIO_InitStruct.Pull = GPIO_NOPULL;
  GPIO_InitStruct.Speed = GPIO_SPEED_FREQ_VERY_HIGH;
  GPIO_InitStruct.Alternate = GPIO_AF4_I2C2;
  HAL_GPIO_Init(GPIOB, &GPIO_InitStruct);

  /*Configure GPIO pins : INTERNAL_UART3_TX_Pin INTERNAL_UART3_RX_Pin */
  GPIO_InitStruct.Pin = INTERNAL_UART3_TX_Pin|INTERNAL_UART3_RX_Pin;
  GPIO_InitStruct.Mode = GPIO_MODE_AF_PP;
  GPIO_InitStruct.Pull = GPIO_NOPULL;
  GPIO_InitStruct.Speed = GPIO_SPEED_FREQ_VERY_HIGH;
  GPIO_InitStruct.Alternate = GPIO_AF7_USART3;
  HAL_GPIO_Init(GPIOD, &GPIO_InitStruct);

  /*Configure GPIO pins : LPS22HB_INT_DRDY_EXTI0_Pin LSM6DSL_INT1_EXTI11_Pin ARD_D2_Pin HTS221_DRDY_EXTI15_Pin
                           PMOD_IRQ_EXTI12_Pin */
  GPIO_InitStruct.Pin = LPS22HB_INT_DRDY_EXTI0_Pin|LSM6DSL_INT1_EXTI11_Pin|ARD_D2_Pin|HTS221_DRDY_EXTI15_Pin
                          |PMOD_IRQ_EXTI12_Pin;
  GPIO_InitStruct.Mode = GPIO_MODE_IT_RISING;
  GPIO_InitStruct.Pull = GPIO_NOPULL;
  HAL_GPIO_Init(GPIOD, &GPIO_InitStruct);

  /*Configure GPIO pins : USB_OTG_FS_PWR_EN_Pin SPBTLE_RF_SPI3_CSN_Pin PMOD_RESET_Pin STSAFE_A100_RESET_Pin */
  GPIO_InitStruct.Pin = USB_OTG_FS_PWR_EN_Pin|SPBTLE_RF_SPI3_CSN_Pin|PMOD_RESET_Pin|STSAFE_A100_RESET_Pin;
  GPIO_InitStruct.Mode = GPIO_MODE_OUTPUT_PP;
  GPIO_InitStruct.Pull = GPIO_NOPULL;
  GPIO_InitStruct.Speed = GPIO_SPEED_FREQ_LOW;
  HAL_GPIO_Init(GPIOD, &GPIO_InitStruct);

  /*Configure GPIO pins : VL53L0X_XSHUT_Pin LED3_WIFI__LED4_BLE_Pin */
  GPIO_InitStruct.Pin = VL53L0X_XSHUT_Pin|LED3_WIFI__LED4_BLE_Pin;
  GPIO_InitStruct.Mode = GPIO_MODE_OUTPUT_PP;
  GPIO_InitStruct.Pull = GPIO_NOPULL;
  GPIO_InitStruct.Speed = GPIO_SPEED_FREQ_LOW;
  HAL_GPIO_Init(GPIOC, &GPIO_InitStruct);

  /*Configure GPIO pins : VL53L0X_GPIO1_EXTI7_Pin LSM3MDL_DRDY_EXTI8_Pin */
  GPIO_InitStruct.Pin = VL53L0X_GPIO1_EXTI7_Pin|LSM3MDL_DRDY_EXTI8_Pin;
  GPIO_InitStruct.Mode = GPIO_MODE_IT_RISING;
  GPIO_InitStruct.Pull = GPIO_NOPULL;
  HAL_GPIO_Init(GPIOC, &GPIO_InitStruct);

  /*Configure GPIO pin : USB_OTG_FS_VBUS_Pin */
  GPIO_InitStruct.Pin = USB_OTG_FS_VBUS_Pin;
  GPIO_InitStruct.Mode = GPIO_MODE_INPUT;
  GPIO_InitStruct.Pull = GPIO_NOPULL;
  HAL_GPIO_Init(USB_OTG_FS_VBUS_GPIO_Port, &GPIO_InitStruct);

  /*Configure GPIO pins : USB_OTG_FS_ID_Pin USB_OTG_FS_DM_Pin USB_OTG_FS_DP_Pin */
  GPIO_InitStruct.Pin = USB_OTG_FS_ID_Pin|USB_OTG_FS_DM_Pin|USB_OTG_FS_DP_Pin;
  GPIO_InitStruct.Mode = GPIO_MODE_AF_PP;
  GPIO_InitStruct.Pull = GPIO_NOPULL;
  GPIO_InitStruct.Speed = GPIO_SPEED_FREQ_VERY_HIGH;
  GPIO_InitStruct.Alternate = GPIO_AF10_OTG_FS;
  HAL_GPIO_Init(GPIOA, &GPIO_InitStruct);

  /*Configure GPIO pins : INTERNAL_SPI3_SCK_Pin INTERNAL_SPI3_MISO_Pin INTERNAL_SPI3_MOSI_Pin */
  GPIO_InitStruct.Pin = INTERNAL_SPI3_SCK_Pin|INTERNAL_SPI3_MISO_Pin|INTERNAL_SPI3_MOSI_Pin;
  GPIO_InitStruct.Mode = GPIO_MODE_AF_PP;
  GPIO_InitStruct.Pull = GPIO_NOPULL;
  GPIO_InitStruct.Speed = GPIO_SPEED_FREQ_VERY_HIGH;
  GPIO_InitStruct.Alternate = GPIO_AF6_SPI3;
  HAL_GPIO_Init(GPIOC, &GPIO_InitStruct);

  /*Configure GPIO pin : PMOD_SPI2_SCK_Pin */
  GPIO_InitStruct.Pin = PMOD_SPI2_SCK_Pin;
  GPIO_InitStruct.Mode = GPIO_MODE_AF_PP;
  GPIO_InitStruct.Pull = GPIO_NOPULL;
  GPIO_InitStruct.Speed = GPIO_SPEED_FREQ_VERY_HIGH;
  GPIO_InitStruct.Alternate = GPIO_AF5_SPI2;
  HAL_GPIO_Init(PMOD_SPI2_SCK_GPIO_Port, &GPIO_InitStruct);

  /*Configure GPIO pins : PMOD_UART2_CTS_Pin PMOD_UART2_RTS_Pin PMOD_UART2_TX_Pin PMOD_UART2_RX_Pin */
  GPIO_InitStruct.Pin = PMOD_UART2_CTS_Pin|PMOD_UART2_RTS_Pin|PMOD_UART2_TX_Pin|PMOD_UART2_RX_Pin;
  GPIO_InitStruct.Mode = GPIO_MODE_AF_PP;
  GPIO_InitStruct.Pull = GPIO_NOPULL;
  GPIO_InitStruct.Speed = GPIO_SPEED_FREQ_VERY_HIGH;
  GPIO_InitStruct.Alternate = GPIO_AF7_USART2;
  HAL_GPIO_Init(GPIOD, &GPIO_InitStruct);

  /*Configure GPIO pins : ARD_D15_Pin ARD_D14_Pin */
  GPIO_InitStruct.Pin = ARD_D15_Pin|ARD_D14_Pin;
  GPIO_InitStruct.Mode = GPIO_MODE_AF_OD;
  GPIO_InitStruct.Pull = GPIO_NOPULL;
  GPIO_InitStruct.Speed = GPIO_SPEED_FREQ_VERY_HIGH;
  GPIO_InitStruct.Alternate = GPIO_AF4_I2C1;
  HAL_GPIO_Init(GPIOB, &GPIO_InitStruct);

  /* EXTI interrupt init*/
  HAL_NVIC_SetPriority(EXTI9_5_IRQn, 5, 0);
  HAL_NVIC_EnableIRQ(EXTI9_5_IRQn);

  HAL_NVIC_SetPriority(EXTI15_10_IRQn, 5, 0);
  HAL_NVIC_EnableIRQ(EXTI15_10_IRQn);

}

/* USER CODE BEGIN 4 */
void HAL_DFSDM_FilterRegConvHalfCpltCallback(DFSDM_Filter_HandleTypeDef *hdfsdm_filter)
{
  printf("RegConvHalfCpltCallback\r\n");
  DmaRecHalBuffCplt=1;
}

void HAL_DFSDM_FilterRegConvCpltCallback(DFSDM_Filter_HandleTypeDef *hdfsdm_filter)
{
  printf("RegConvCpltCallback\r\n");
  DmaRecHalBuffCplt=1;
}

void HAL_DFSDM_FilterErrorCallback(DFSDM_Filter_HandleTypeDef *hdfsdm_filter)
{
    // 在這裡打個斷點 (Breakpoint)
    // 檢查 hdfsdm_filter->ErrorCode
    printf("DFSDM Error!\r\n");
}

/* Phase C1b: ADC reference DMA completion — proves DMA1 peripheral-triggered path */
void HAL_ADC_ConvCpltCallback(ADC_HandleTypeDef *hadc)
{
  if (hadc->Instance == ADC1) { adcCpltCnt++; }
}

/* Phase C1c: positive error confirmation — fires on ADC or its DMA error (TEIF) */
void HAL_ADC_ErrorCallback(ADC_HandleTypeDef *hadc)
{
  printf("[diag:ADC ERROR] ErrorCode=0x%lX  DMA_ErrorCode=0x%lX\r\n",
         (unsigned long)hadc->ErrorCode,
         (unsigned long)(hadc->DMA_Handle ? hadc->DMA_Handle->ErrorCode : 0U));
}
/* USER CODE END 4 */

void StartDefaultTask(void *argument)
{
  /* USER CODE BEGIN 5 */
  /* Infinite loop */
  for(;;)
  {
    printf("Default Task\r\n");
    dump_dfsdm_dma_state("task");   /* watch CNDTR change across iterations */
    if (DmaRecHalBuffCplt)
    {
      printf("Hal PlayBuf: ");
      for(int i=0;i<AUDIO_REC;i++) {
        PlayBuf[i]=RecBuf[i]>>8;
        printf("%ld ",PlayBuf[i]);
      }
      printf("\r\n");
      //HAL_DFSDM_FilterRegularStart_DMA(&hdfsdm1_filter0, RecBuf, AUDIO_REC);
      DmaRecHalBuffCplt=0;
    }
    if (DmaRecBuffCplt)
    {
      printf("PlayBuf: ");
      for(int i=0;i<AUDIO_REC;i++) {
        PlayBuf[i]=RecBuf[i]>>8;
        printf("%ld ",PlayBuf[i]);
      }
      printf("\r\n");
      DmaRecBuffCplt=0;
    }
    osDelay(1000);
  }
  /* USER CODE END 5 */
}

void HAL_TIM_PeriodElapsedCallback(TIM_HandleTypeDef *htim)
{
  if (htim->Instance == TIM7)
  {
    HAL_IncTick();
  }
}

void Error_Handler(void)
{
  __disable_irq();
  while (1)
  {
  }
}
